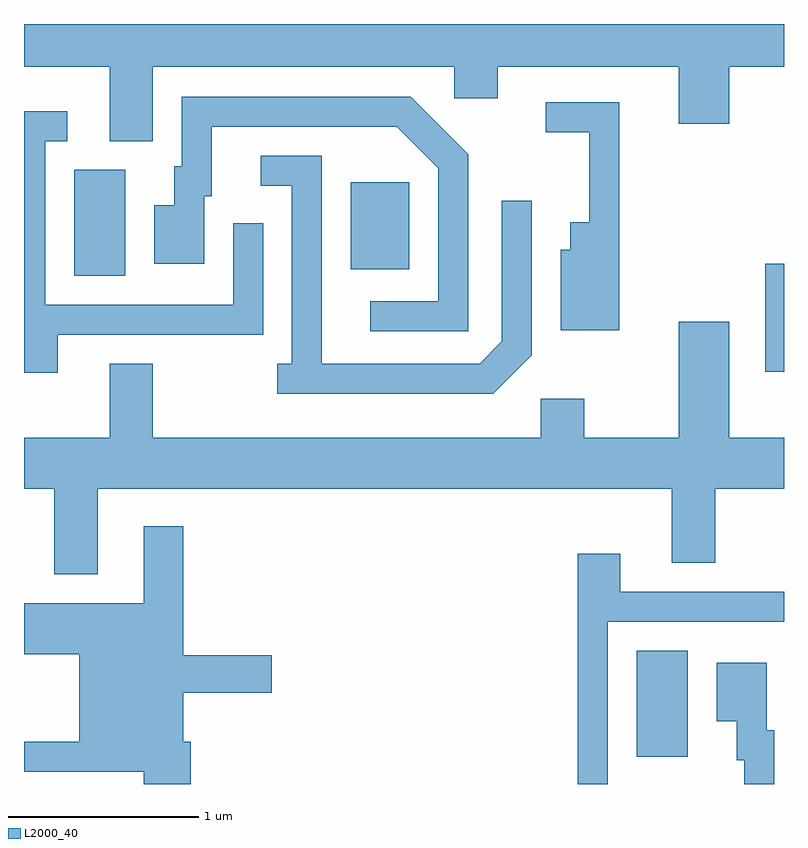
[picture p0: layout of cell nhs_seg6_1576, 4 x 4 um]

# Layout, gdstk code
import gdstk
lib = gdstk.Library(unit=1e-6, precision=1e-09)
def R(c, l, rs):  # rectangles x0, y0, x1, y1
    for r in rs: c.add(gdstk.rectangle(r[:2], r[2:], *l))
def P(c, l, *ps):  # polygons
    for p in ps: c.add(gdstk.Polygon(p, *l))
L2000_40 = (2000, 40)

nhs_seg6_1576 = lib.new_cell('nhs_seg6_1576')
R(nhs_seg6_1576, L2000_40, [(234.836,1646.306,235.104,1646.864), (235.511,1648.331,235.611,1648.899), (231.876,1648.836,232.144,1649.394), (233.331,1648.871,233.639,1649.329)])
P(nhs_seg6_1576, L2000_40, [(232.289,1649.936),(233.876,1649.936),(233.876,1649.771),(234.104,1649.771),(234.104,1649.936),(235.056,1649.936),(235.056,1649.636),(235.324,1649.636),(235.324,1649.936),(235.611,1649.936),(235.611,1650.162),(231.611,1650.162),(231.611,1649.936),(232.061,1649.936),(232.061,1649.546),(232.289,1649.546)],
  [(233.949,1649.477),(233.647,1649.779),(232.441,1649.779),(232.441,1649.414),(232.401,1649.414),(232.401,1649.209),(232.296,1649.209),(232.296,1648.901),(232.559,1648.901),(232.559,1649.256),(232.599,1649.256),(232.599,1649.621),(233.574,1649.621),(233.791,1649.404),(233.791,1648.704),(233.433,1648.704),(233.433,1648.546),(233.949,1648.546)],
  [(234.744,1649.749),(234.358,1649.749),(234.358,1649.591),(234.586,1649.591),(234.586,1649.119),(234.486,1649.119),(234.486,1648.974),(234.436,1648.974),(234.436,1648.551),(234.744,1648.551)],
  [(231.789,1648.526),(232.869,1648.526),(232.869,1649.113),(232.711,1649.113),(232.711,1648.684),(231.724,1648.684),(231.724,1649.546),(231.838,1649.546),(231.838,1649.704),(231.611,1649.704),(231.611,1648.326),(231.789,1648.326)],
  [(234.284,1648.419),(234.284,1649.233),(234.126,1649.233),(234.126,1648.492),(234.009,1648.374),(233.179,1648.374),(233.179,1649.469),(232.858,1649.469),(232.858,1649.311),(233.021,1649.311),(233.021,1648.374),(232.943,1648.374),(232.943,1648.216),(234.082,1648.216)],
  [(235.021,1647.326),(235.249,1647.326),(235.249,1647.716),(235.611,1647.716),(235.611,1647.984),(235.324,1647.984),(235.324,1648.594),(235.056,1648.594),(235.056,1647.984),(234.559,1647.984),(234.559,1648.189),(234.331,1648.189),(234.331,1647.984),(232.289,1647.984),(232.289,1648.374),(232.061,1648.374),(232.061,1647.984),(231.611,1647.984),(231.611,1647.716),(231.771,1647.716),(231.771,1647.266),(231.999,1647.266),(231.999,1647.716),(235.021,1647.716)],
  [(232.489,1646.384),(232.449,1646.384),(232.449,1646.641),(232.914,1646.641),(232.914,1646.839),(232.449,1646.839),(232.449,1647.519),(232.241,1647.519),(232.241,1647.114),(231.611,1647.114),(231.611,1646.846),(231.901,1646.846),(231.901,1646.384),(231.611,1646.384),(231.611,1646.226),(232.241,1646.226),(232.241,1646.162),(232.489,1646.162)],
  [(234.684,1647.016),(235.611,1647.016),(235.611,1647.174),(234.749,1647.174),(234.749,1647.374),(234.526,1647.374),(234.526,1646.162),(234.684,1646.162)],
  [(235.559,1646.444),(235.519,1646.444),(235.519,1646.799),(235.256,1646.799),(235.256,1646.491),(235.361,1646.491),(235.361,1646.286),(235.401,1646.286),(235.401,1646.162),(235.559,1646.162)])

lib.write_gds('nhs_seg6_1576.gds')
